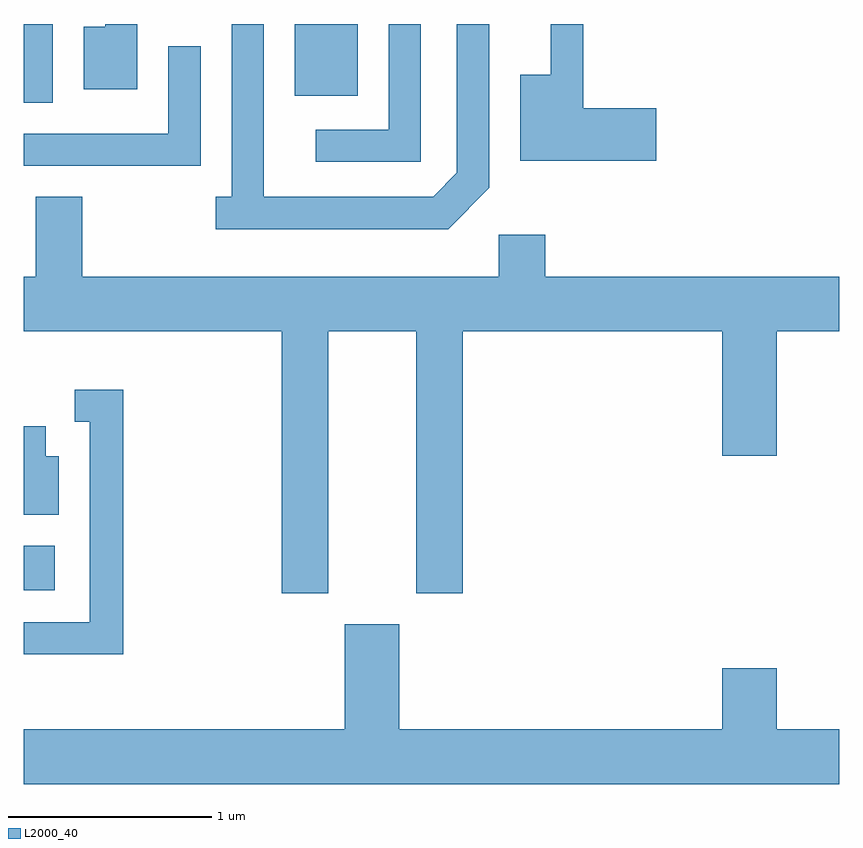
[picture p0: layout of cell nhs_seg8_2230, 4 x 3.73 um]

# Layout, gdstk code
import gdstk
lib = gdstk.Library(unit=1e-6, precision=1e-09)
def R(c, l, rs):  # rectangles x0, y0, x1, y1
    for r in rs: c.add(gdstk.rectangle(r[:2], r[2:], *l))
def P(c, l, *ps):  # polygons
    for p in ps: c.add(gdstk.Polygon(p, *l))
L2000_40 = (2000, 40)

nhs_seg8_2230 = lib.new_cell('nhs_seg8_2230')
R(nhs_seg8_2230, L2000_40, [(251.611,1859.566,251.764,1859.784), (251.611,1861.956,251.754,1862.342), (252.941,1861.991,253.249,1862.342)])
P(nhs_seg8_2230, L2000_40, [(253.559,1862.342),(253.401,1862.342),(253.401,1861.824),(253.043,1861.824),(253.043,1861.666),(253.559,1861.666)],
  [(253.894,1861.539),(253.894,1862.342),(253.736,1862.342),(253.736,1861.612),(253.619,1861.494),(252.789,1861.494),(252.789,1862.342),(252.631,1862.342),(252.631,1861.494),(252.553,1861.494),(252.553,1861.336),(253.692,1861.336)],
  [(254.714,1861.929),(254.354,1861.929),(254.354,1862.342),(254.196,1862.342),(254.196,1862.094),(254.046,1862.094),(254.046,1861.671),(254.714,1861.671)],
  [(252.169,1862.342),(252.011,1862.342),(252.011,1862.329),(251.906,1862.329),(251.906,1862.021),(252.169,1862.021)],
  [(252.479,1862.233),(252.321,1862.233),(252.321,1861.804),(251.611,1861.804),(251.611,1861.646),(252.479,1861.646)],
  [(253.104,1860.836),(253.536,1860.836),(253.536,1859.551),(253.764,1859.551),(253.764,1860.836),(255.036,1860.836),(255.036,1860.226),(255.304,1860.226),(255.304,1860.836),(255.611,1860.836),(255.611,1861.104),(254.169,1861.104),(254.169,1861.309),(253.941,1861.309),(253.941,1861.104),(251.899,1861.104),(251.899,1861.494),(251.671,1861.494),(251.671,1861.104),(251.611,1861.104),(251.611,1860.836),(252.876,1860.836),(252.876,1859.551),(253.104,1859.551)],
  [(252.099,1860.549),(251.863,1860.549),(251.863,1860.391),(251.936,1860.391),(251.936,1859.409),(251.611,1859.409),(251.611,1859.251),(252.099,1859.251)],
  [(251.784,1860.224),(251.719,1860.224),(251.719,1860.369),(251.611,1860.369),(251.611,1859.936),(251.784,1859.936)],
  [(255.611,1858.884),(255.304,1858.884),(255.304,1859.184),(255.036,1859.184),(255.036,1858.884),(253.454,1858.884),(253.454,1859.399),(253.186,1859.399),(253.186,1858.884),(251.611,1858.884),(251.611,1858.616),(255.611,1858.616)])

lib.write_gds('nhs_seg8_2230.gds')
